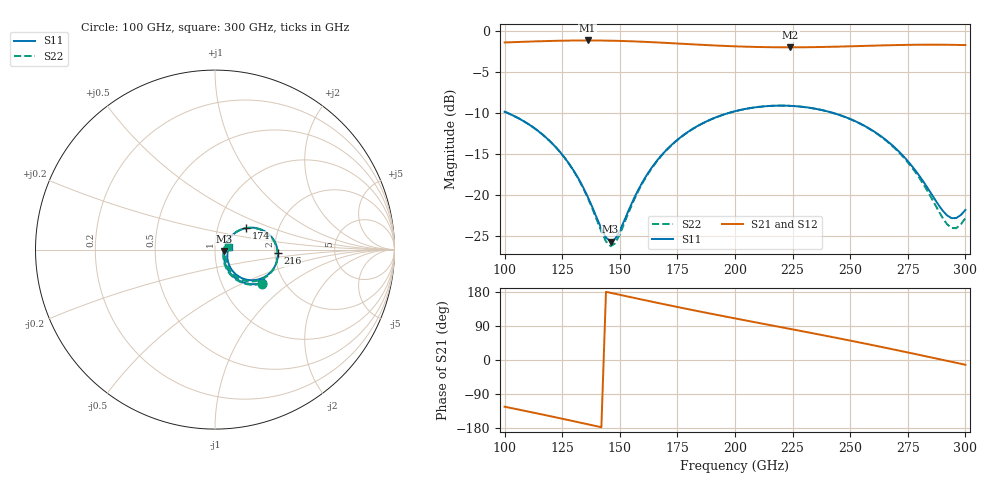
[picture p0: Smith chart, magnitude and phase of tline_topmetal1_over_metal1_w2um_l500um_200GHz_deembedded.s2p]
! Created with skrf 2.2.0 (http://scikit-rf.org).
# GHz S DB R 50.0
! Port[1] = P1
! Port[2] = P2
!freq dBS11 angS11 dBS21 angS21 dBS12 angS12 dBS22 angS22
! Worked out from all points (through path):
!   101 points, 100 GHz to 300 GHz, reference 50 ohm
!   highest |S21| = -1.12 dB at 136 GHz (marker M1); lowest = -2.0 dB at 224 GHz (marker M2)
!   group delay of S21, straight-line fit = 3.42 ps
!   lowest |S11| = -25.7 dB at 146 GHz (marker M3), VSWR 1.11, Z = 55.4 - j1.01 ohm
!   |S11| at or under -10 dB: 101.4 GHz to 197 GHz (95.59 GHz wide, 64.1 % of centre); 242.9 GHz to end of sweep
!   |S22| runs from -26.2 to -9.1 dB; largest |S21 - S12| = 9e-16
!   S11 on the Smith chart (normalised r, x): 100 GHz: 1.55, -0.64; 174 GHz: 1.37, +0.34; 216 GHz: 2.07, -0.10; 300 GHz: 1.17, +0.04
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100  -9.83 -35.1  -1.37 -123.3  -1.37 -123.3  -9.82 -35.9
120  -13.51 -52.9  -1.18 -148.5  -1.18 -148.5  -13.51 -54.2
128  -16.18 -57.1  -1.14 -158.9  -1.14 -158.9  -16.21 -58.8
134  -19.01 -56.3  -1.12 -166.8  -1.12 -166.8  -19.08 -58.4
136  -20.16 -54.3  -1.12 -169.5  -1.12 -169.5  -20.27 -56.7
142  -24.11 -37.0  -1.14 -177.4  -1.14 -177.4  -24.46 -39.7
146  -25.68 -10.1  -1.15 177.3  -1.15 177.3  -26.24 -11.3
150  -24.36 17.6  -1.18 172.0  -1.18 172.0  -24.81 18.3
160  -18.34 39.4  -1.28 159.0  -1.28 159.0  -18.46 40.1
168  -15.17 38.3  -1.39 148.7  -1.39 148.7  -15.22 38.5
174  -13.49 34.6  -1.48 141.2  -1.48 141.2  -13.52 34.5
186  -11.23 24.7  -1.66 126.4  -1.66 126.4  -11.25 24.3
200  -9.76 11.7  -1.84 109.8  -1.84 109.8  -9.77 11.1
216  -9.11 -3.4  -1.95 91.2  -1.95 91.2  -9.11 -4.4
224  -9.11 -11.0  -1.96 81.9  -1.96 81.9  -9.11 -12.2
234  -9.42 -20.4  -1.94 70.3  -1.94 70.3  -9.42 -21.8
250  -10.71 -35.0  -1.84 51.2  -1.84 51.2  -10.73 -36.9
268  -13.86 -48.2  -1.70 28.8  -1.70 28.8  -13.93 -51.2
278  -16.89 -50.2  -1.65 16.0  -1.65 16.0  -17.09 -54.3
292  -22.48 -23.5  -1.65 -2.1  -1.65 -2.1  -23.55 -27.5
296  -22.81 -5.0  -1.67 -7.3  -1.67 -7.3  -24.05 -5.6
300  -21.82 11.7  -1.69 -12.5  -1.69 -12.5  -22.82 13.8
